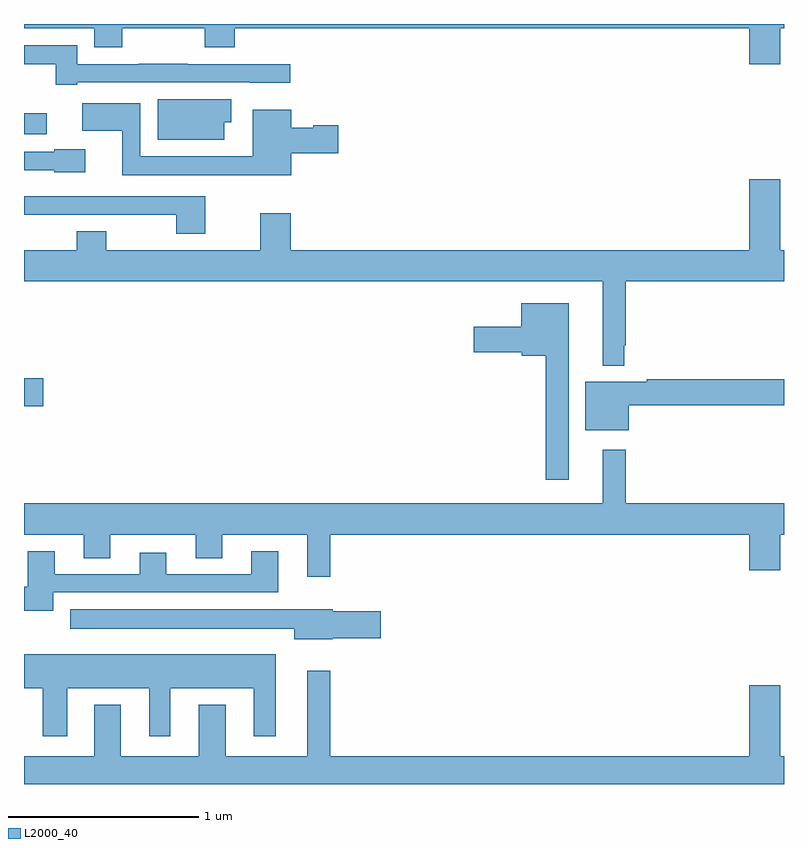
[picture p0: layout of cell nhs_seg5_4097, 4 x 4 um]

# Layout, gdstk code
import gdstk
lib = gdstk.Library(unit=1e-6, precision=1e-09)
def R(c, l, rs):  # rectangles x0, y0, x1, y1
    for r in rs: c.add(gdstk.rectangle(r[:2], r[2:], *l))
def P(c, l, *ps):  # polygons
    for p in ps: c.add(gdstk.Polygon(p, *l))
L2000_40 = (2000, 40)

nhs_seg5_4097 = lib.new_cell('nhs_seg5_4097')
R(nhs_seg5_4097, L2000_40, [(353,838.787,353.101,838.934), (353,840.219,353.119,840.328)])
P(nhs_seg5_4097, L2000_40, [(356.98,840.776),(357,840.776),(357,840.799),(353,840.799),(353,840.776),(353.369,840.776),(353.369,840.677),(353.517,840.677),(353.517,840.776),(353.95,840.776),(353.95,840.677),(354.11,840.677),(354.11,840.776),(356.816,840.776),(356.816,840.588),(356.98,840.588)],
  [(353.281,840.492),(354.187,840.492),(354.187,840.491),(354.4,840.491),(354.4,840.588),(353.861,840.588),(353.861,840.59),(353.605,840.59),(353.605,840.588),(353.281,840.588),(353.281,840.687),(353,840.687),(353,840.586),(353.167,840.586),(353.167,840.48),(353.281,840.48)],
  [(354.055,840.281),(354.091,840.281),(354.091,840.403),(353.705,840.403),(353.705,840.191),(354.055,840.191)],
  [(354.406,840.119),(354.655,840.119),(354.655,840.266),(354.522,840.266),(354.522,840.253),(354.406,840.253),(354.406,840.349),(354.203,840.349),(354.203,840.103),(353.613,840.103),(353.613,840.382),(353.307,840.382),(353.307,840.236),(353.516,840.236),(353.516,840.002),(354.406,840.002)],
  [(353.323,840.141),(353.16,840.141),(353.16,840.126),(353,840.126),(353,840.03),(353.16,840.03),(353.16,840.02),(353.323,840.02)],
  [(356.16,839.107),(356.167,839.107),(356.167,839.444),(357,839.444),(357,839.608),(356.98,839.608),(356.98,839.983),(356.816,839.983),(356.816,839.608),(354.404,839.608),(354.404,839.803),(354.244,839.803),(354.244,839.608),(353.433,839.608),(353.433,839.707),(353.278,839.707),(353.278,839.608),(353,839.608),(353,839.444),(356.045,839.444),(356.045,839),(356.16,839)],
  [(353.955,839.892),(353,839.892),(353,839.795),(353.189,839.795),(353.189,839.796),(353.521,839.796),(353.521,839.795),(353.8,839.795),(353.8,839.694),(353.955,839.694)],
  [(355.867,839.329),(355.616,839.329),(355.616,839.206),(355.368,839.206),(355.368,839.072),(355.62,839.072),(355.62,839.054),(355.746,839.054),(355.746,838.401),(355.867,838.401)],
  [(356.182,838.792),(357,838.792),(357,838.928),(356.278,838.928),(356.278,838.915),(355.955,838.915),(355.955,838.661),(356.182,838.661)],
  [(354.613,838.112),(356.816,838.112),(356.816,837.924),(356.98,837.924),(356.98,838.112),(357,838.112),(357,838.276),(356.167,838.276),(356.167,838.558),(356.045,838.558),(356.045,838.276),(353,838.276),(353,838.112),(353.315,838.112),(353.315,837.988),(353.455,837.988),(353.455,838.112),(353.903,838.112),(353.903,837.988),(354.043,837.988),(354.043,838.112),(354.491,838.112),(354.491,837.891),(354.613,837.891)],
  [(353.155,837.807),(354.337,837.807),(354.337,838.024),(354.197,838.024),(354.197,837.903),(353.749,837.903),(353.749,838.015),(353.609,838.015),(353.609,837.903),(353.161,837.903),(353.161,838.024),(353.021,838.024),(353.021,837.838),(353,837.838),(353,837.71),(353.155,837.71)],
  [(354.624,837.566),(354.877,837.566),(354.877,837.708),(354.624,837.708),(354.624,837.718),(353.244,837.718),(353.244,837.617),(354.422,837.617),(354.422,837.56),(354.624,837.56)],
  [(353.227,837.302),(353.66,837.302),(353.66,837.051),(353.77,837.051),(353.77,837.302),(354.209,837.302),(354.209,837.051),(354.325,837.051),(354.325,837.481),(353,837.481),(353,837.302),(353.099,837.302),(353.099,837.051),(353.227,837.051)],
  [(357,836.944),(356.98,836.944),(356.98,837.319),(356.816,837.319),(356.816,836.944),(354.613,836.944),(354.613,837.394),(354.491,837.394),(354.491,836.944),(354.061,836.944),(354.061,837.217),(353.921,837.217),(353.921,836.944),(353.509,836.944),(353.509,837.217),(353.369,837.217),(353.369,836.944),(353,836.944),(353,836.799),(357,836.799)])

lib.write_gds('nhs_seg5_4097.gds')
